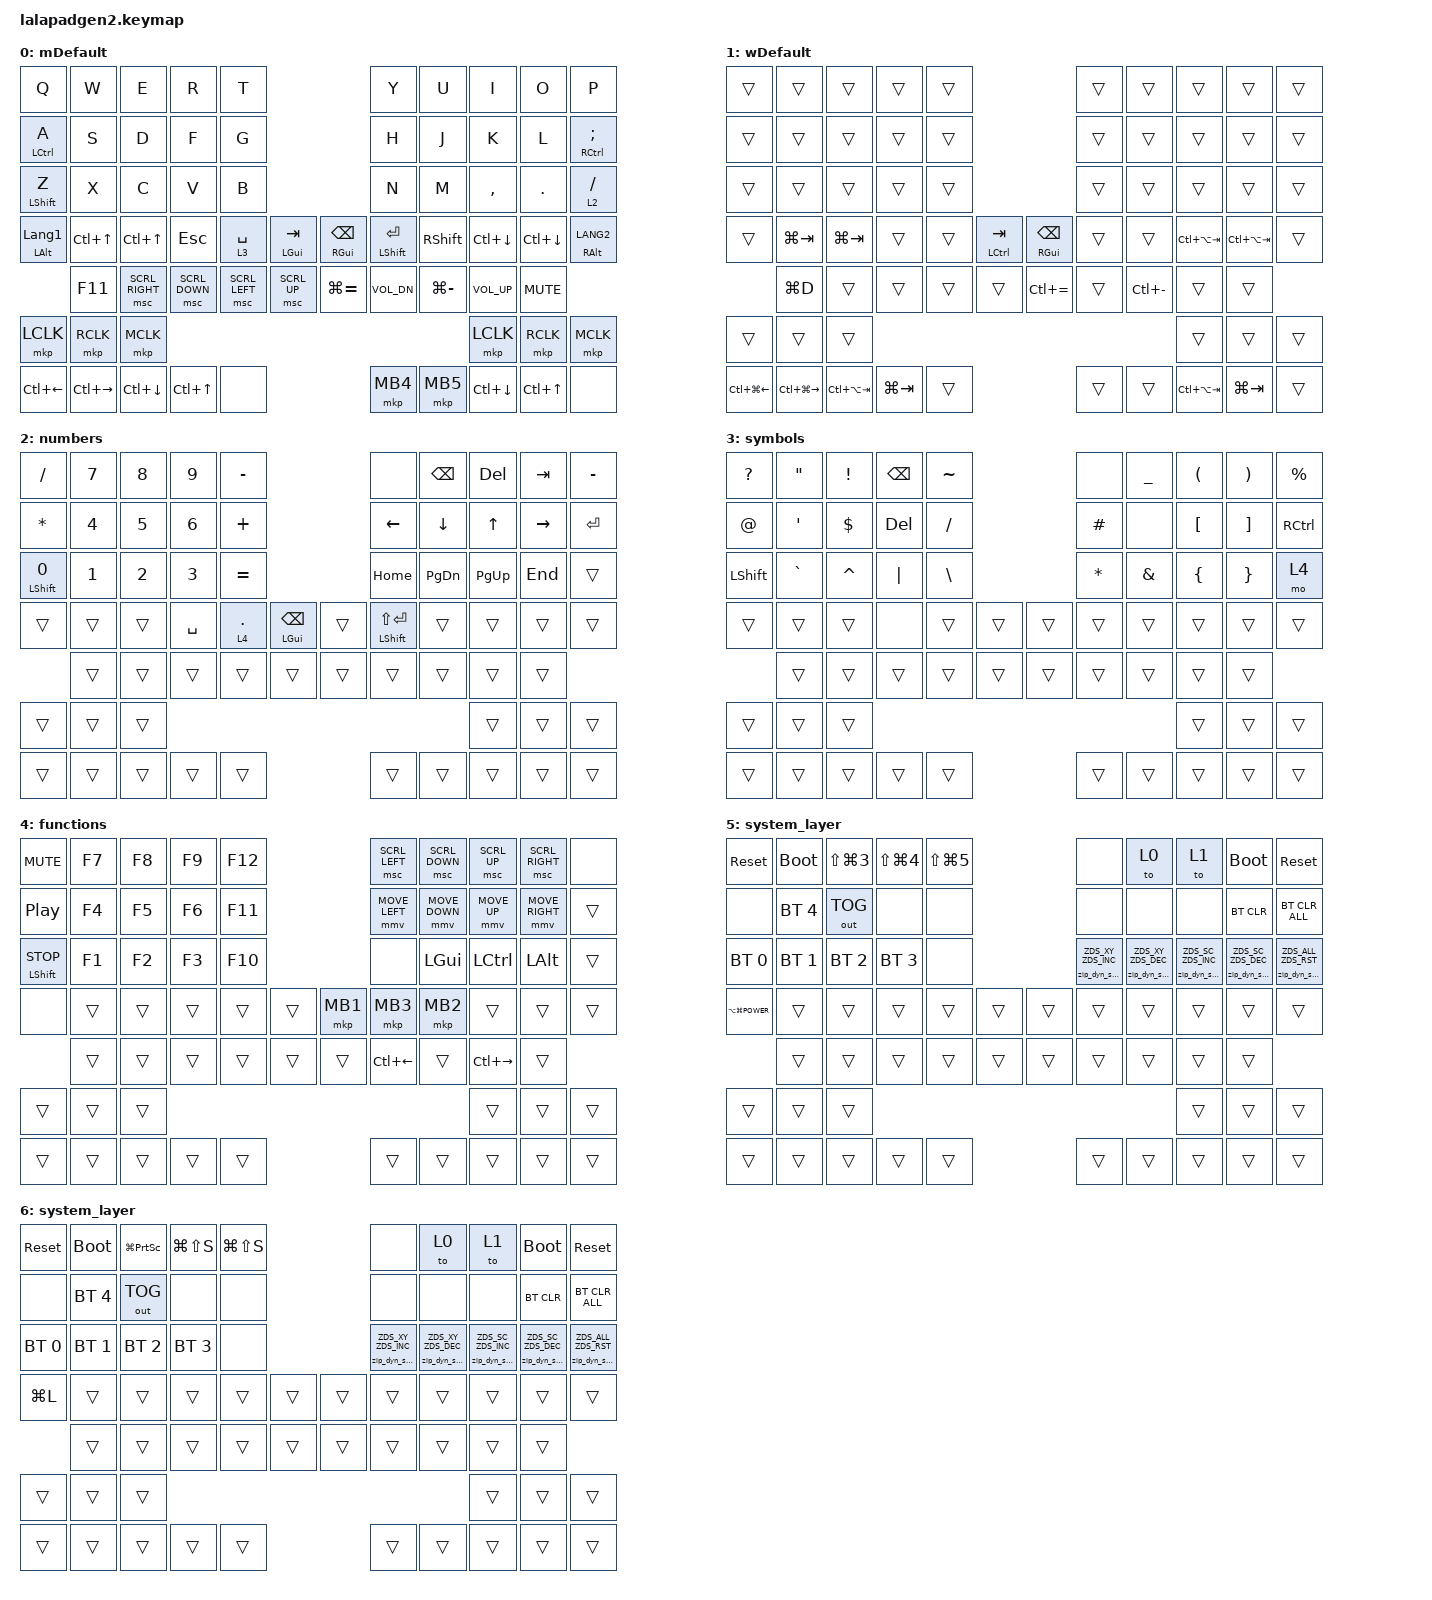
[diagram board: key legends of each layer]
#include <input/processors.dtsi>
#include <dt-bindings/zmk/zip_dynamic_scale.h>
#include <behaviors.dtsi>
#include <dt-bindings/zmk/bt.h>
#include <dt-bindings/zmk/keys.h>
#include <dt-bindings/zmk/outputs.h>
#include <dt-bindings/zmk/pointing.h>

#define DEFAULT_LAYER   0
#define SECONDARY_LAYER 1
#define TERTIARY_LAYER  2
#define SYSTEM_LAYER    3

&mt {
    quick-tap-ms = <200>;
    tapping-term-ms = <250>;
    flavor = "tap-preferred";
};

&lt { quick-tap-ms = <200>; };

/ {
    behaviors {
        zip_dyn_scale: zip_dyn_scale {
            compatible = "zmk,behavior-zip-dynamic-scale";
            #binding-cells = <2>;
        };

        zip_dyn_scale_set: zip_dyn_scale_set {
            compatible = "zmk,behavior-zip-dynamic-scale-set";
            #binding-cells = <2>;
        };

        mt2: mod_tap2 {
            compatible = "zmk,behavior-hold-tap";
            #binding-cells = <2>;
            flavor = "tap-preferred";
            tapping-term-ms = <200>;
            quick-tap-ms = <200>;
            require-prior-idle-ms = <125>;
            bindings = <&kp>, <&kp>;
        };

        tap_dance_layer_1and2: tap_dance_layer_1and2 {
            compatible = "zmk,behavior-tap-dance";
            label = "td_mo12";
            #binding-cells = <0>;
            bindings = <&mo 2>, <&mo 4>;
        };

        mt3: mod_tap3 {
            compatible = "zmk,behavior-hold-tap";
            #binding-cells = <2>;
            flavor = "hold-preferred";
            tapping-term-ms = <200>;
            quick-tap-ms = <200>;
            require-prior-idle-ms = <125>;
            bindings = <&kp>, <&kp>;
        };
    };

    combos {
        compatible = "zmk,combos";

        mac_onsei {
            bindings = <&kp LEFT_CONTROL>;
            key-positions = <5 6>;
            layers = <0>;
        };

        win_onsei {
            bindings = <&kp LG(H)>;
            key-positions = <5 6>;
            layers = <1>;
        };

        to_win_system {
            bindings = <&mo 6>;
            key-positions = <34 35>;
            layers = <1>;
        };

        to_mac_system {
            bindings = <&mo 5>;
            key-positions = <34 35>;
            layers = <0>;
        };
    };

    keymap {
        compatible = "zmk,keymap";

        mac_default {
            display-name = "mDefault";
            bindings = <
&kp Q                     &kp W             &kp E             &kp R             &kp T                                                        &kp Y                  &kp U            &kp I            &kp O             &kp P
&mt LCTRL A               &kp S             &kp D             &kp F             &kp G                                                        &kp H                  &kp J            &kp K            &kp L             &mt2 RCTRL SEMI
&mt2 LEFT_SHIFT Z         &kp X             &kp C             &kp V             &kp B                                                        &kp N                  &kp M            &kp COMMA        &kp DOT           &lt 2 SLASH
&mt2 LEFT_ALT LANGUAGE_1  &kp LC(UP_ARROW)  &kp LC(UP_ARROW)  &kp ESCAPE        &lt 3 SPACE     &mt2 LEFT_GUI TAB  &mt3 RIGHT_GUI BACKSPACE  &mt2 LEFT_SHIFT ENTER  &kp RIGHT_SHIFT  &kp LC(DOWN)     &kp LC(DOWN)      &mt2 RIGHT_ALT LANG2
                          &kp F11           &msc SCRL_RIGHT   &msc SCRL_DOWN    &msc SCRL_LEFT  &msc SCRL_UP       &kp LG(EQUAL)             &kp C_VOL_DN           &kp LG(MINUS)    &kp C_VOLUME_UP  &kp C_MUTE
&mkp LCLK                 &mkp RCLK         &mkp MCLK                                                                                                                                &mkp LCLK        &mkp RCLK         &mkp MCLK
&kp LC(LEFT)              &kp LC(RIGHT)     &kp LC(DOWN)      &kp LC(UP_ARROW)  &none                                                        &mkp MB4               &mkp MB5         &kp LC(DOWN)     &kp LC(UP_ARROW)  &none
            >;
        };

        win_default {
            display-name = "wDefault";
            bindings = <
&trans            &trans             &trans           &trans       &trans                                                   &trans  &trans         &trans           &trans           &trans
&trans            &trans             &trans           &trans       &trans                                                   &trans  &trans         &trans           &trans           &trans
&trans            &trans             &trans           &trans       &trans                                                   &trans  &trans         &trans           &trans           &trans
&trans            &kp LG(TAB)        &kp LG(TAB)      &trans       &trans  &mt3 LEFT_CONTROL TAB  &mt2 RIGHT_GUI BACKSPACE  &trans  &trans         &kp LC(LA(TAB))  &kp LC(LA(TAB))  &trans
                  &kp LG(D)          &trans           &trans       &trans  &trans                 &kp LC(EQUAL)             &trans  &kp LC(MINUS)  &trans           &trans
&trans            &trans             &trans                                                                                                        &trans           &trans           &trans
&kp LC(LG(LEFT))  &kp LC(LG(RIGHT))  &kp LC(LA(TAB))  &kp LG(TAB)  &trans                                                   &trans  &trans         &kp LC(LA(TAB))  &kp LG(TAB)      &trans
            >;
        };

        numbers_arrows {
            display-name = "numbers";
            bindings = <
&kp SLASH                 &kp NUMBER_7  &kp NUMBER_8  &kp NUMBER_9  &kp MINUS                                   &none                      &kp BSPC       &kp DELETE    &kp TAB    &kp MINUS
&kp ASTERISK              &kp NUMBER_4  &kp NUMBER_5  &kp NUMBER_6  &kp PLUS                                    &kp LEFT                   &kp DOWN       &kp UP_ARROW  &kp RIGHT  &kp ENTER
&mt2 LEFT_SHIFT NUMBER_0  &kp NUMBER_1  &kp NUMBER_2  &kp NUMBER_3  &kp EQUAL                                   &kp HOME                   &kp PAGE_DOWN  &kp PAGE_UP   &kp END    &trans
&trans                    &trans        &trans        &kp SPACE     &lt 4 DOT  &mt3 LEFT_GUI BACKSPACE  &trans  &mt2 LEFT_SHIFT LS(ENTER)  &trans         &trans        &trans     &trans
                          &trans        &trans        &trans        &trans     &trans                   &trans  &trans                     &trans         &trans        &trans
&trans                    &trans        &trans                                                                                                            &trans        &trans     &trans
&trans                    &trans        &trans        &trans        &trans                                      &trans                     &trans         &trans        &trans     &trans
            >;
        };

        symbols {
            bindings = <
&kp QUESTION  &kp DOUBLE_QUOTES  &kp EXCLAMATION  &kp BSPC  &kp TILDE                  &none      &kp UNDER  &kp LEFT_PARENTHESIS  &kp RIGHT_PARENTHESIS  &kp PERCENT
&kp AT        &kp SQT            &kp DOLLAR       &kp DEL   &kp FSLH                   &kp HASH   &none      &kp LBKT              &kp RBKT               &kp RIGHT_CONTROL
&kp LSHFT     &kp GRAVE          &kp CARET        &kp PIPE  &kp BSLH                   &kp ASTRK  &kp AMPS   &kp LEFT_BRACE        &kp RIGHT_BRACE        &mo 4
&trans        &trans             &trans           &none     &trans     &trans  &trans  &trans     &trans     &trans                &trans                 &trans
              &trans             &trans           &trans    &trans     &trans  &trans  &trans     &trans     &trans                &trans
&trans        &trans             &trans                                                                      &trans                &trans                 &trans
&trans        &trans             &trans           &trans    &trans                     &trans     &trans     &trans                &trans                 &trans
            >;

            label = "symbols";
        };

        fnc_navi {
            display-name = "functions";
            bindings = <
&kp C_MUTE              &kp F7  &kp F8  &kp F9  &kp F12                    &msc SCRL_LEFT  &msc SCRL_DOWN  &msc SCRL_UP   &msc SCRL_RIGHT  &none
&kp C_PP                &kp F4  &kp F5  &kp F6  &kp F11                    &mmv MOVE_LEFT  &mmv MOVE_DOWN  &mmv MOVE_UP   &mmv MOVE_RIGHT  &trans
&mt2 LEFT_SHIFT C_STOP  &kp F1  &kp F2  &kp F3  &kp F10                    &none           &kp LEFT_GUI    &kp LCTRL      &kp LEFT_ALT     &trans
&none                   &trans  &trans  &trans  &trans   &trans  &mkp MB1  &mkp MB3        &mkp MB2        &trans         &trans           &trans
                        &trans  &trans  &trans  &trans   &trans  &trans    &kp LC(LEFT)    &trans          &kp LC(RIGHT)  &trans
&trans                  &trans  &trans                                                                     &trans         &trans           &trans
&trans                  &trans  &trans  &trans  &trans                     &trans          &trans          &trans         &trans           &trans
            >;
        };

        mac_bt_shortcuts {
            display-name = "system_layer";
            bindings = <
&sys_reset           &bootloader   &kp LS(LG(NUMBER_3))  &kp LS(LG(NUMBER_4))  &kp LS(LG(N5))                  &none                          &to 0                          &to 1                          &bootloader                    &sys_reset
&none                &bt BT_SEL 4  &out OUT_TOG          &none                 &none                           &none                          &none                          &none                          &bt BT_CLR                     &bt BT_CLR_ALL
&bt BT_SEL 0         &bt BT_SEL 1  &bt BT_SEL 2          &bt BT_SEL 3          &none                           &zip_dyn_scale ZDS_XY ZDS_INC  &zip_dyn_scale ZDS_XY ZDS_DEC  &zip_dyn_scale ZDS_SC ZDS_INC  &zip_dyn_scale ZDS_SC ZDS_DEC  &zip_dyn_scale ZDS_ALL ZDS_RST
&kp LA(LG(C_POWER))  &trans        &trans                &trans                &trans          &trans  &trans  &trans                         &trans                         &trans                         &trans                         &trans
                     &trans        &trans                &trans                &trans          &trans  &trans  &trans                         &trans                         &trans                         &trans
&trans               &trans        &trans                                                                                                                                    &trans                         &trans                         &trans
&trans               &trans        &trans                &trans                &trans                          &trans                         &trans                         &trans                         &trans                         &trans
            >;
        };

        win_bt_shortcuts {
            display-name = "system_layer";
            bindings = <
&sys_reset    &bootloader   &kp LG(PRINTSCREEN)  &kp LG(LS(S))  &kp LG(LS(S))                  &none                          &to 0                          &to 1                          &bootloader                    &sys_reset
&none         &bt BT_SEL 4  &out OUT_TOG         &none          &none                          &none                          &none                          &none                          &bt BT_CLR                     &bt BT_CLR_ALL
&bt BT_SEL 0  &bt BT_SEL 1  &bt BT_SEL 2         &bt BT_SEL 3   &none                          &zip_dyn_scale ZDS_XY ZDS_INC  &zip_dyn_scale ZDS_XY ZDS_DEC  &zip_dyn_scale ZDS_SC ZDS_INC  &zip_dyn_scale ZDS_SC ZDS_DEC  &zip_dyn_scale ZDS_ALL ZDS_RST
&kp LG(L)     &trans        &trans               &trans         &trans         &trans  &trans  &trans                         &trans                         &trans                         &trans                         &trans
              &trans        &trans               &trans         &trans         &trans  &trans  &trans                         &trans                         &trans                         &trans
&trans        &trans        &trans                                                                                                                           &trans                         &trans                         &trans
&trans        &trans        &trans               &trans         &trans                         &trans                         &trans                         &trans                         &trans                         &trans
            >;
        };
    };

    conditional_layers { compatible = "zmk,conditional-layers"; };
};
